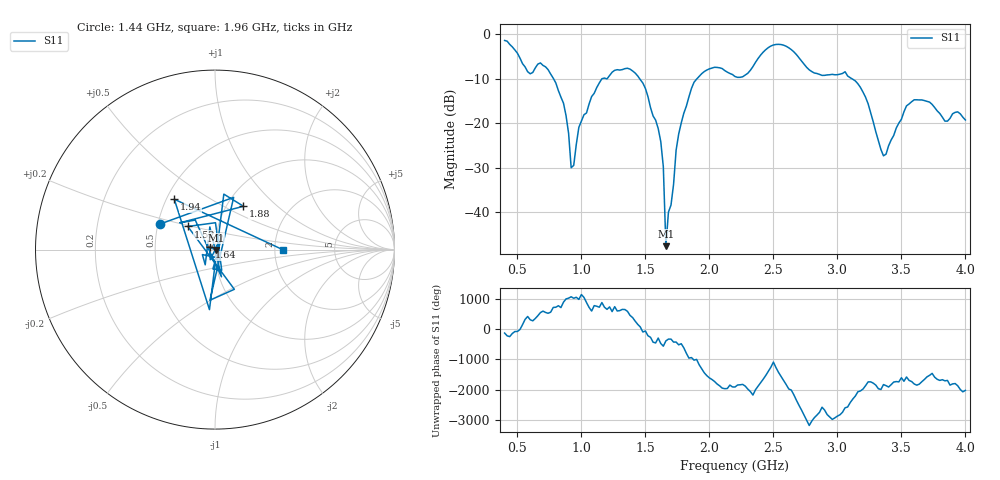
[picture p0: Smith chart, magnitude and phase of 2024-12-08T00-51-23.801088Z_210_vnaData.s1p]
!Created with skrf (http://scikit-rf.org).
# Hz S RI R 50.0
!freq ReS11 ImS11
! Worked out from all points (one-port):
!   181 points, 400 MHz to 4 GHz, reference 50 ohm
!   lowest |S11| = -47.6 dB at 1.66 GHz (marker M1), VSWR 1.01, Z = 50.4 - j0.209 ohm
!   |S11| at or under -10 dB: 782.4 MHz to 1.16 GHz (377.4 MHz wide, 38.9 % of centre); 1.455 GHz to 1.903 GHz (447.7 MHz wide, 26.7 % of centre); 3.114 GHz to end of sweep (the widest 3 of 4)
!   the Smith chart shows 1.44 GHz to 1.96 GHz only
!   S11 on the Smith chart (normalised r, x): 1.44 GHz: 0.51, +0.16; 1.52 GHz: 0.72, +0.19; 1.64 GHz: 0.94, +0.02; 1.88 GHz: 1.20, +0.63; 1.94 GHz: 0.55, +0.35; 1.96 GHz: 2.23, -0.01
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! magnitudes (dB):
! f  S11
! 400 MHz  -1.4
! 600 MHz  -8.9
! 720 MHz  -7.3
! 860 MHz  -15.5
! 900 MHz  -22.3
! 920 MHz  -30.0
! 980 MHz  -20.9
! 1.08 GHz  -14.0
! 1.3 GHz  -8.1
! 1.44 GHz  -9.4
! 1.52 GHz  -14.0
! 1.6 GHz  -21.2
! 1.64 GHz  -29.8
! 1.66 GHz  -47.6
! 1.68 GHz  -40.0
! 1.76 GHz  -22.4
! 1.88 GHz  -10.8
! 1.94 GHz  -8.9
! 1.96 GHz  -8.4
! 2.2 GHz  -9.5
! 2.48 GHz  -2.7
! 2.66 GHz  -4.0
! 2.82 GHz  -8.7
! 3.1 GHz  -9.8
! 3.22 GHz  -14.2
! 3.36 GHz  -27.3
! 3.56 GHz  -15.7
! 4 GHz  -19.3
